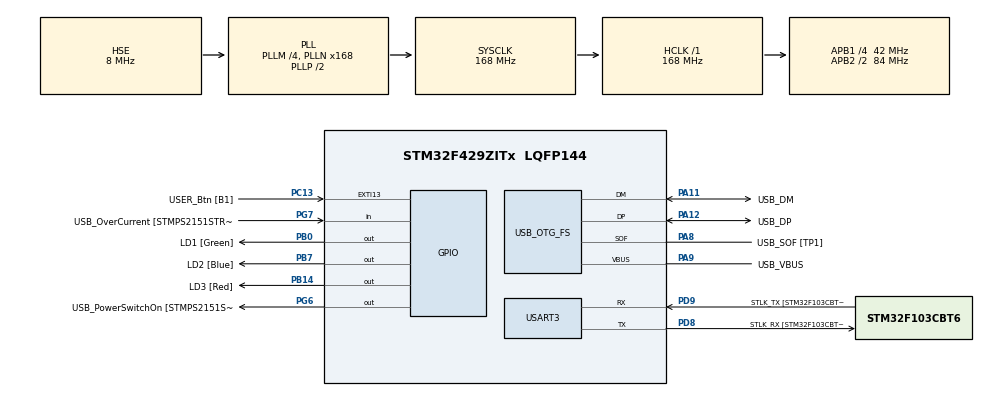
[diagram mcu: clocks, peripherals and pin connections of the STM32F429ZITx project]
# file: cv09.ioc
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Mcu.Family=STM32F4
Mcu.Name=STM32F429ZITx
Mcu.Package=LQFP144
NVIC.OTG_FS_IRQn=true\:0\:0\:false\:false\:true\:false\:true
NVIC.PriorityGroup=NVIC_PRIORITYGROUP_4
PA1.GPIO_Label=RMII_REF_CLK [LAN8742A-CZ-TR_REFCLK0]
PA1.Signal=ETH_REF_CLK
PA10.GPIO_Label=USB_ID
PA10.Signal=USB_OTG_FS_ID
PA11.GPIO_Label=USB_DM
PA11.Mode=Device_Only
PA11.Signal=USB_OTG_FS_DM
PA12.GPIO_Label=USB_DP
PA12.Mode=Device_Only
PA12.Signal=USB_OTG_FS_DP
PA13.GPIO_Label=TMS
PA13.Mode=Serial_Wire
PA13.Signal=SYS_JTMS-SWDIO
PA14.GPIO_Label=TCK
PA14.Mode=Serial_Wire
PA14.Signal=SYS_JTCK-SWCLK
PA2.GPIO_Label=RMII_MDIO [LAN8742A-CZ-TR_MDIO]
PA2.Signal=ETH_MDIO
PA7.GPIO_Label=RMII_CRS_DV [LAN8742A-CZ-TR_CRS_DV]
PA7.Signal=ETH_CRS_DV
PA8.GPIO_Label=USB_SOF [TP1]
PA8.Mode=Activate_SOF_FS
PA8.Signal=USB_OTG_FS_SOF
PA9.GPIO_Label=USB_VBUS
PA9.Mode=Activate_VBUS
PA9.Signal=USB_OTG_FS_VBUS
PB0.GPIO_Label=LD1 [Green]
PB0.Signal=GPIO_Output
PB13.GPIO_Label=RMII_TXD1 [LAN8742A-CZ-TR_TXD1]
PB13.Signal=ETH_TXD1
PB14.GPIO_Label=LD3 [Red]
PB14.Signal=GPIO_Output
PB7.GPIO_Label=LD2 [Blue]
PB7.Signal=GPIO_Output
PC1.GPIO_Label=RMII_MDC [LAN8742A-CZ-TR_MDC]
PC1.Signal=ETH_MDC
PC13.GPIO_Label=USER_Btn [B1]
PC13.Signal=GPXTI13
PC14/OSC32_IN.Mode=LSE-External-Oscillator
PC14/OSC32_IN.Signal=RCC_OSC32_IN
PC15/OSC32_OUT.Mode=LSE-External-Oscillator
PC15/OSC32_OUT.Signal=RCC_OSC32_OUT
PC4.GPIO_Label=RMII_RXD0 [LAN8742A-CZ-TR_RXD0]
PC4.Signal=ETH_RXD0
PC5.GPIO_Label=RMII_RXD1 [LAN8742A-CZ-TR_RXD1]
PC5.Signal=ETH_RXD1
PD8.GPIO_Label=STLK_RX [STM32F103CBT6_PA3]
PD8.Mode=Asynchronous
PD8.Signal=USART3_TX
PD9.GPIO_Label=STLK_TX [STM32F103CBT6_PA2]
PD9.Mode=Asynchronous
PD9.Signal=USART3_RX
PG11.GPIO_Label=RMII_TX_EN [LAN8742A-CZ-TR_TXEN]
PG11.Signal=ETH_TX_EN
PG13.GPIO_Label=RMII_TXD0 [LAN8742A-CZ-TR_TXD0]
PG13.Signal=ETH_TXD0
PG6.GPIO_Label=USB_PowerSwitchOn [STMPS2151STR_EN]
PG6.Signal=GPIO_Output
PG7.GPIO_Label=USB_OverCurrent [STMPS2151STR_FAULT]
PG7.Signal=GPIO_Input
PH0/OSC_IN.GPIO_Label=MCO [STM32F103CBT6_PA8]
PH0/OSC_IN.Mode=HSE-External-Clock-Source
PH0/OSC_IN.Signal=RCC_OSC_IN
PH1/OSC_OUT.Mode=HSE-External-Clock-Source
PH1/OSC_OUT.Signal=RCC_OSC_OUT
ProjectManager.HeapSize=0x200
ProjectManager.StackSize=0x400
ProjectManager.TargetToolchain=STM32CubeIDE
RCC.48MHZClocksFreq_Value=48000000
RCC.AHBFreq_Value=168000000
RCC.APB1CLKDivider=RCC_HCLK_DIV4
RCC.APB1Freq_Value=42000000
RCC.APB1TimFreq_Value=84000000
RCC.APB2CLKDivider=RCC_HCLK_DIV2
RCC.APB2Freq_Value=84000000
RCC.APB2TimCLKDivider=2
RCC.APB2TimFreq_Value=168000000
RCC.CortexFreq_Value=168000000
RCC.HCLKFreq_Value=168000000
RCC.HSE_VALUE=8000000
RCC.HSI_VALUE=16000000
RCC.PLLM=4
RCC.PLLMUL=RCC_PLL_MUL9
RCC.PLLN=168
RCC.PLLQ=7
RCC.PRESCALERUSB=RCC_USBCLKSOURCE_PLL_DIV1_5
RCC.SYSCLKFreq_VALUE=168000000
RCC.SYSCLKSource=RCC_SYSCLKSOURCE_PLLCLK
RCC.SYSCLKSourceVirtual=RCC_SYSCLKSOURCE_PLLCLK
RCC.USBFreq_Value=48000000
RCC.VCOOutputFreq_Value=336000000
USART3.VirtualMode=VM_ASYNC
USB_DEVICE.CLASS_NAME_FS=HID
USB_DEVICE.VirtualMode-HID_FS=Hid
USB_DEVICE.VirtualModeFS=Hid_FS
USB_OTG_FS.VirtualMode=Device_Only
VP_USB_DEVICE_VS_USB_DEVICE_HID_FS.Mode=HID_FS
board=NUCLEO-F429ZI

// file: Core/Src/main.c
/* USER CODE BEGIN Header */
/**
  ******************************************************************************
  * @file           : main.c
  * @brief          : Main program body
  ******************************************************************************
  * @attention
  *
  * <h2><center>&copy; Copyright (c) 2020 STMicroelectronics.
  * All rights reserved.</center></h2>
  *
  * This software component is licensed by ST under BSD 3-Clause license,
  * the "License"; You may not use this file except in compliance with the
  * License. You may obtain a copy of the License at:
  *                        opensource.org/licenses/BSD-3-Clause
  *
  ******************************************************************************
  */
/* USER CODE END Header */
#include "main.h"
#include "usb_device.h"

/* USER CODE BEGIN Includes */
#include "usbd_hid.h"
#include <math.h>
#include <stdbool.h>

/* USER CODE END Includes */

UART_HandleTypeDef huart3;

/* USER CODE BEGIN PV */
extern USBD_HandleTypeDef hUsbDeviceFS;

/* USER CODE END PV */

void SystemClock_Config(void);
static void MX_GPIO_Init(void);
static void MX_USART3_UART_Init(void);
/* USER CODE BEGIN PFP */
void step(int8_t x, int8_t y, bool  btn) {

	uint8_t buff [4];

	if(btn == 0) buff[0] = 0x00;
	else buff[0] = 0x01;

	buff[1] = (int8_t)(x);
	buff[2] = (int8_t)(y);
	buff[3] = 0;  // nevyuzije se
	USBD_HID_SendReport(&hUsbDeviceFS, buff, sizeof(buff));
	HAL_Delay(USBD_HID_GetPollingInterval(&hUsbDeviceFS));
}

void monstrosity(uint8_t radius) {  //vykresleni kruhu

	for(uint16_t angle = 0; angle < 360; angle++) {

		static int8_t x = 0;
		static int8_t y = 0;
		float sx = radius*sin(angle);
		float sy = radius*cos(angle);

		int8_t dx = x - sx;
		int8_t dy = y - sy;
		step(dx, dy, 1);
		x = dx;
		y = dy;
	}
}

/* USER CODE END PFP */

int main(void)
{

  /* MCU Configuration--------------------------------------------------------*/

  /* Reset of all peripherals, Initializes the Flash interface and the Systick. */
  HAL_Init();

  /* Configure the system clock */
  SystemClock_Config();

  /* Initialize all configured peripherals */
  MX_GPIO_Init();
  MX_USART3_UART_Init();
  MX_USB_DEVICE_Init();

  /* Infinite loop */
  /* USER CODE BEGIN WHILE */
  while (1)
  {
	  do {HAL_Delay(40);} while(!HAL_GPIO_ReadPin(USER_Btn_GPIO_Port, USER_Btn_Pin));  //cekam tak dlouho dokud nebude stiknute tlacitko, budu cist user buttom Port a pin

	  	  uint8_t buff[4];  // sklada se ze ctyr bajtu v reportu
	  	  buff[0] = 0x01;         // stiskni leve tlacitko
	  	  buff[1] = (int8_t)(10); // posun X +10
	  	  buff[2] = (int8_t)(-3); // posun Y -3
	  	  buff[3] = 0;            // bez scrollu
	  	  USBD_HID_SendReport(&hUsbDeviceFS, buff, sizeof(buff));  // odesleme report
	  	  HAL_Delay(USBD_HID_GetPollingInterval(&hUsbDeviceFS));  // pockame

    /* USER CODE END WHILE */

  }
}

void SystemClock_Config(void)
{
  RCC_OscInitTypeDef RCC_OscInitStruct = {0};
  RCC_ClkInitTypeDef RCC_ClkInitStruct = {0};

  /** Configure the main internal regulator output voltage
  */
  __HAL_RCC_PWR_CLK_ENABLE();
  __HAL_PWR_VOLTAGESCALING_CONFIG(PWR_REGULATOR_VOLTAGE_SCALE1);
  /** Initializes the RCC Oscillators according to the specified parameters
  * in the RCC_OscInitTypeDef structure.
  */
  RCC_OscInitStruct.OscillatorType = RCC_OSCILLATORTYPE_HSE;
  RCC_OscInitStruct.HSEState = RCC_HSE_BYPASS;
  RCC_OscInitStruct.PLL.PLLState = RCC_PLL_ON;
  RCC_OscInitStruct.PLL.PLLSource = RCC_PLLSOURCE_HSE;
  RCC_OscInitStruct.PLL.PLLM = 4;
  RCC_OscInitStruct.PLL.PLLN = 168;
  RCC_OscInitStruct.PLL.PLLP = RCC_PLLP_DIV2;
  RCC_OscInitStruct.PLL.PLLQ = 7;
  if (HAL_RCC_OscConfig(&RCC_OscInitStruct) != HAL_OK)
  {
    Error_Handler();
  }
  /** Initializes the CPU, AHB and APB buses clocks
  */
  RCC_ClkInitStruct.ClockType = RCC_CLOCKTYPE_HCLK|RCC_CLOCKTYPE_SYSCLK
                              |RCC_CLOCKTYPE_PCLK1|RCC_CLOCKTYPE_PCLK2;
  RCC_ClkInitStruct.SYSCLKSource = RCC_SYSCLKSOURCE_PLLCLK;
  RCC_ClkInitStruct.AHBCLKDivider = RCC_SYSCLK_DIV1;
  RCC_ClkInitStruct.APB1CLKDivider = RCC_HCLK_DIV4;
  RCC_ClkInitStruct.APB2CLKDivider = RCC_HCLK_DIV2;

  if (HAL_RCC_ClockConfig(&RCC_ClkInitStruct, FLASH_LATENCY_5) != HAL_OK)
  {
    Error_Handler();
  }
}

static void MX_USART3_UART_Init(void)
{

  huart3.Instance = USART3;
  huart3.Init.BaudRate = 115200;
  huart3.Init.WordLength = UART_WORDLENGTH_8B;
  huart3.Init.StopBits = UART_STOPBITS_1;
  huart3.Init.Parity = UART_PARITY_NONE;
  huart3.Init.Mode = UART_MODE_TX_RX;
  huart3.Init.HwFlowCtl = UART_HWCONTROL_NONE;
  huart3.Init.OverSampling = UART_OVERSAMPLING_16;
  if (HAL_UART_Init(&huart3) != HAL_OK)
  {
    Error_Handler();
  }

}

static void MX_GPIO_Init(void)
{
  GPIO_InitTypeDef GPIO_InitStruct = {0};

  /* GPIO Ports Clock Enable */
  __HAL_RCC_GPIOC_CLK_ENABLE();
  __HAL_RCC_GPIOH_CLK_ENABLE();
  __HAL_RCC_GPIOA_CLK_ENABLE();
  __HAL_RCC_GPIOB_CLK_ENABLE();
  __HAL_RCC_GPIOD_CLK_ENABLE();
  __HAL_RCC_GPIOG_CLK_ENABLE();

  /*Configure GPIO pin Output Level */
  HAL_GPIO_WritePin(GPIOB, LD1_Pin|LD3_Pin|LD2_Pin, GPIO_PIN_RESET);

  /*Configure GPIO pin Output Level */
  HAL_GPIO_WritePin(USB_PowerSwitchOn_GPIO_Port, USB_PowerSwitchOn_Pin, GPIO_PIN_RESET);

  /*Configure GPIO pin : USER_Btn_Pin */
  GPIO_InitStruct.Pin = USER_Btn_Pin;
  GPIO_InitStruct.Mode = GPIO_MODE_IT_RISING;
  GPIO_InitStruct.Pull = GPIO_NOPULL;
  HAL_GPIO_Init(USER_Btn_GPIO_Port, &GPIO_InitStruct);

  /*Configure GPIO pins : RMII_MDC_Pin RMII_RXD0_Pin RMII_RXD1_Pin */
  GPIO_InitStruct.Pin = RMII_MDC_Pin|RMII_RXD0_Pin|RMII_RXD1_Pin;
  GPIO_InitStruct.Mode = GPIO_MODE_AF_PP;
  GPIO_InitStruct.Pull = GPIO_NOPULL;
  GPIO_InitStruct.Speed = GPIO_SPEED_FREQ_VERY_HIGH;
  GPIO_InitStruct.Alternate = GPIO_AF11_ETH;
  HAL_GPIO_Init(GPIOC, &GPIO_InitStruct);

  /*Configure GPIO pins : RMII_REF_CLK_Pin RMII_MDIO_Pin RMII_CRS_DV_Pin */
  GPIO_InitStruct.Pin = RMII_REF_CLK_Pin|RMII_MDIO_Pin|RMII_CRS_DV_Pin;
  GPIO_InitStruct.Mode = GPIO_MODE_AF_PP;
  GPIO_InitStruct.Pull = GPIO_NOPULL;
  GPIO_InitStruct.Speed = GPIO_SPEED_FREQ_VERY_HIGH;
  GPIO_InitStruct.Alternate = GPIO_AF11_ETH;
  HAL_GPIO_Init(GPIOA, &GPIO_InitStruct);

  /*Configure GPIO pins : LD1_Pin LD3_Pin LD2_Pin */
  GPIO_InitStruct.Pin = LD1_Pin|LD3_Pin|LD2_Pin;
  GPIO_InitStruct.Mode = GPIO_MODE_OUTPUT_PP;
  GPIO_InitStruct.Pull = GPIO_NOPULL;
  GPIO_InitStruct.Speed = GPIO_SPEED_FREQ_LOW;
  HAL_GPIO_Init(GPIOB, &GPIO_InitStruct);

  /*Configure GPIO pin : RMII_TXD1_Pin */
  GPIO_InitStruct.Pin = RMII_TXD1_Pin;
  GPIO_InitStruct.Mode = GPIO_MODE_AF_PP;
  GPIO_InitStruct.Pull = GPIO_NOPULL;
  GPIO_InitStruct.Speed = GPIO_SPEED_FREQ_VERY_HIGH;
  GPIO_InitStruct.Alternate = GPIO_AF11_ETH;
  HAL_GPIO_Init(RMII_TXD1_GPIO_Port, &GPIO_InitStruct);

  /*Configure GPIO pin : USB_PowerSwitchOn_Pin */
  GPIO_InitStruct.Pin = USB_PowerSwitchOn_Pin;
  GPIO_InitStruct.Mode = GPIO_MODE_OUTPUT_PP;
  GPIO_InitStruct.Pull = GPIO_NOPULL;
  GPIO_InitStruct.Speed = GPIO_SPEED_FREQ_LOW;
  HAL_GPIO_Init(USB_PowerSwitchOn_GPIO_Port, &GPIO_InitStruct);

  /*Configure GPIO pin : USB_OverCurrent_Pin */
  GPIO_InitStruct.Pin = USB_OverCurrent_Pin;
  GPIO_InitStruct.Mode = GPIO_MODE_INPUT;
  GPIO_InitStruct.Pull = GPIO_NOPULL;
  HAL_GPIO_Init(USB_OverCurrent_GPIO_Port, &GPIO_InitStruct);

  /*Configure GPIO pins : RMII_TX_EN_Pin RMII_TXD0_Pin */
  GPIO_InitStruct.Pin = RMII_TX_EN_Pin|RMII_TXD0_Pin;
  GPIO_InitStruct.Mode = GPIO_MODE_AF_PP;
  GPIO_InitStruct.Pull = GPIO_NOPULL;
  GPIO_InitStruct.Speed = GPIO_SPEED_FREQ_VERY_HIGH;
  GPIO_InitStruct.Alternate = GPIO_AF11_ETH;
  HAL_GPIO_Init(GPIOG, &GPIO_InitStruct);

}

void Error_Handler(void)
{
}

/************************ (C) COPYRIGHT STMicroelectronics *****END OF FILE****/
